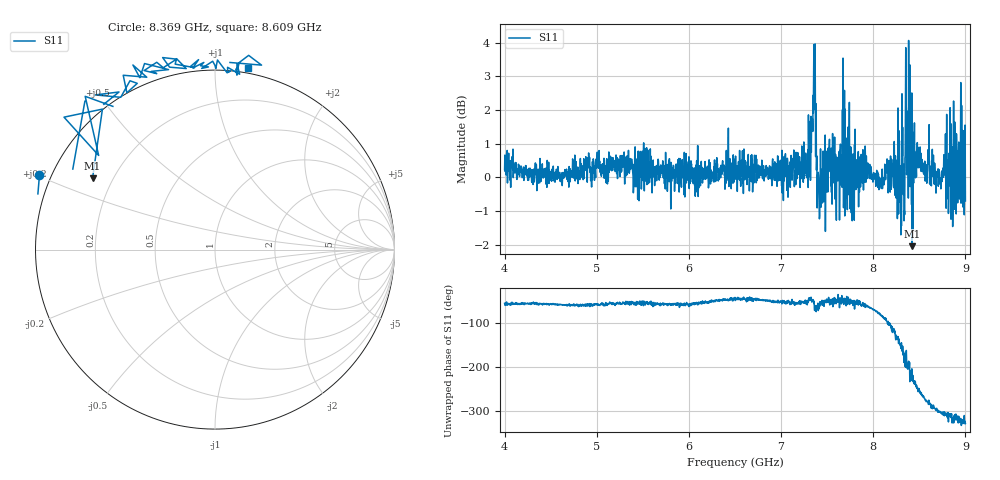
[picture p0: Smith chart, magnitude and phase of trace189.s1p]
! Created with skrf 1.8.0 (http://scikit-rf.org).
# Hz S RI R 50.0
!freq ReS11 ImS11
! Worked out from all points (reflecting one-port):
!   1601 points, 4 GHz to 9 GHz, reference 50 ohm
!   lowest |S11| = -2.0 dB at 8.422 GHz (marker M1), VSWR 8.52, Z = 6.29 + j13.3 ohm
!   phase of S11 starts at -57 deg and turns -270 deg over the sweep
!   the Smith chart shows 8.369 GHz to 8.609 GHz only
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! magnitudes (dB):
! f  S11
! 4 GHz  0.2
! 4.625 GHz  -0.2
! 5.25 GHz  0.3
! 5.875 GHz  0.0
! 6.5 GHz  0.2
! 7.125 GHz  0.3
! 7.297 GHz  1.9
! 7.356 GHz  3.9
! 7.378 GHz  2.2
! 7.397 GHz  0.1
! 7.416 GHz  -1.2
! 7.538 GHz  0.8
! 7.609 GHz  0.3
! 7.662 GHz  -0.3
! 7.75 GHz  -0.9
! 8.097 GHz  0.2
! 8.262 GHz  -1.2
! 8.316 GHz  0.6
! 8.334 GHz  -1.3
! 8.347 GHz  0.7
! 8.375 GHz  2.0
! 8.422 GHz  -2.0
! 8.447 GHz  1.6
! 8.706 GHz  -0.3
! 8.891 GHz  1.3
! 8.919 GHz  -0.4
! 8.972 GHz  1.1
! 9 GHz  -0.7
